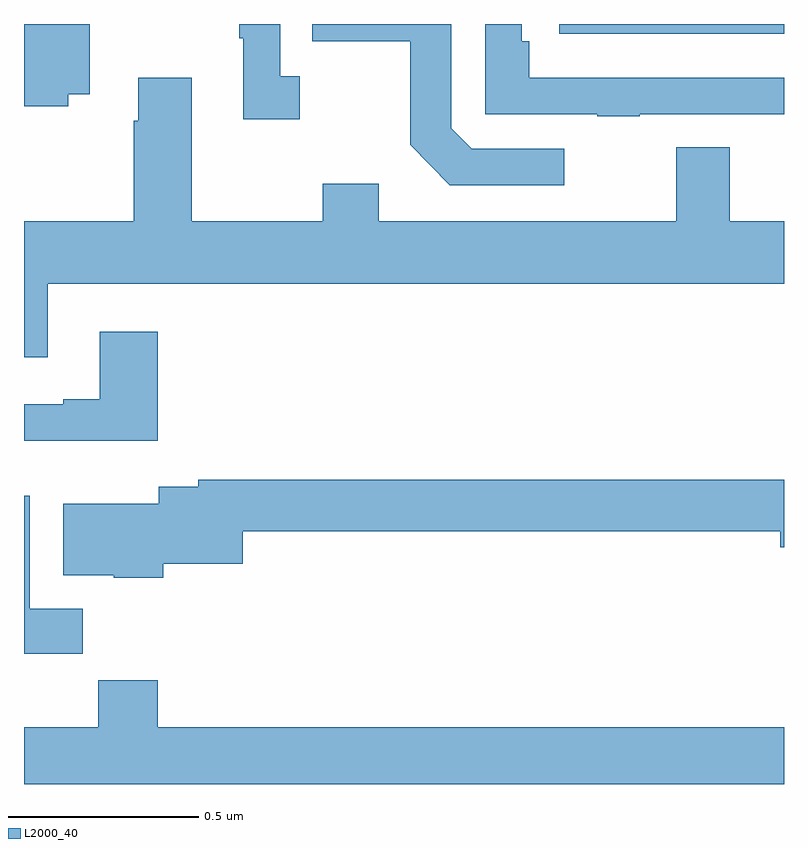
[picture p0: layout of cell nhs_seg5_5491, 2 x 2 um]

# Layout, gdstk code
import gdstk
lib = gdstk.Library(unit=1e-6, precision=1e-09)
def R(c, l, rs):  # rectangles x0, y0, x1, y1
    for r in rs: c.add(gdstk.rectangle(r[:2], r[2:], *l))
def P(c, l, *ps):  # polygons
    for p in ps: c.add(gdstk.Polygon(p, *l))
L2000_40 = (2000, 40)

nhs_seg5_5491 = lib.new_cell('nhs_seg5_5491')
R(nhs_seg5_5491, L2000_40, [(185.409,834.774,186,834.799)])
P(nhs_seg5_5491, L2000_40, [(185.621,834.561),(186,834.561),(186,834.657),(185.33,834.657),(185.33,834.754),(185.31,834.754),(185.31,834.799),(185.214,834.799),(185.214,834.561),(185.509,834.561),(185.509,834.556),(185.621,834.556)],
  [(185.422,834.471),(185.178,834.471),(185.124,834.525),(185.124,834.799),(184.759,834.799),(184.759,834.754),(185.016,834.754),(185.016,834.481),(185.121,834.375),(185.422,834.375)],
  [(184.726,834.662),(184.674,834.662),(184.674,834.799),(184.566,834.799),(184.566,834.761),(184.577,834.761),(184.577,834.549),(184.726,834.549)],
  [(184.116,834.614),(184.173,834.614),(184.173,834.799),(184,834.799),(184,834.582),(184.116,834.582)],
  [(184.063,834.116),(186,834.116),(186,834.28),(185.857,834.28),(185.857,834.475),(185.717,834.475),(185.717,834.28),(184.933,834.28),(184.933,834.379),(184.786,834.379),(184.786,834.28),(184.441,834.28),(184.441,834.658),(184.301,834.658),(184.301,834.545),(184.289,834.545),(184.289,834.28),(184,834.28),(184,833.922),(184.063,833.922)],
  [(184.352,833.989),(184.199,833.989),(184.199,833.812),(184.103,833.812),(184.103,833.799),(184,833.799),(184,833.702),(184.352,833.702)],
  [(184.367,833.378),(184.576,833.378),(184.576,833.464),(185.99,833.464),(185.99,833.422),(186,833.422),(186,833.6),(184.459,833.6),(184.459,833.581),(184.355,833.581),(184.355,833.536),(184.103,833.536),(184.103,833.348),(184.236,833.348),(184.236,833.342),(184.367,833.342)],
  [(184.154,833.26),(184.015,833.26),(184.015,833.557),(184,833.557),(184,833.142),(184.154,833.142)],
  [(186,832.948),(184.352,832.948),(184.352,833.072),(184.195,833.072),(184.195,832.948),(184,832.948),(184,832.799),(186,832.799)])

lib.write_gds('nhs_seg5_5491.gds')
